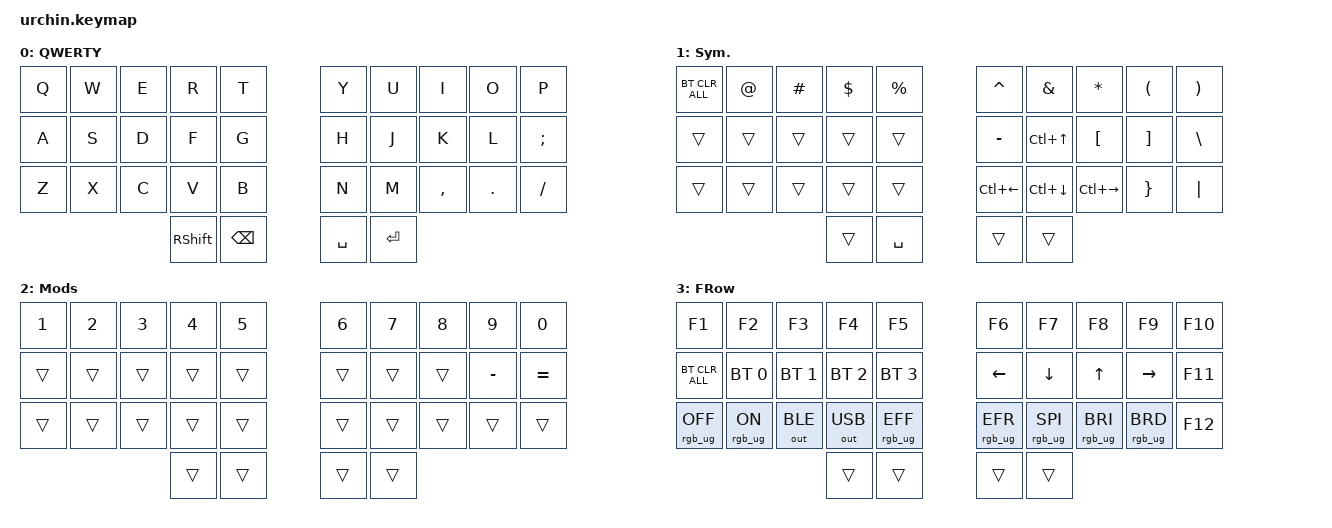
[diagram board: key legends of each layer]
/*
 * Copyright (c) 2020 duckyb
 *
 * SPDX-License-Identifier: MIT
 */

#include <behaviors.dtsi>
#include <dt-bindings/zmk/bt.h>
#include <dt-bindings/zmk/keys.h>
#include <dt-bindings/zmk/outputs.h>
#include <dt-bindings/zmk/rgb.h>
#include "keymap_italian.h"

// Layer definitions

#define BASE 0
#define SYM 1
#define EXT 2
#define FNC 3
#define SYM2 4
#define ACCENT 5
#define SETTINGS 6

// -----------------

/ {
    behaviors {
        td0: td0 {
            compatible = "zmk,behavior-tap-dance";
            display-name = "Shift/Caps Lock Tap Dance";
            #binding-cells = <0>;
            bindings = <&kp LEFT_SHIFT>, <&kp CAPS>;
        };

        lhht: left-hand-hold-tap {
            compatible = "zmk,behavior-hold-tap";
            label = "LEFT_HOLD_TAP";
            bindings = <&kp>, <&kp>;

            #binding-cells = <2>;
            tapping-term-ms = <200>;
            flavor = "tap-preferred";
            quick-tap-ms = <125>;
            global-quick-tap;
            hold-trigger-key-positions = <0 1 2 3 4 10 11 12 13 14 20 21 22 23 24 30 31>;
        };

        rhht: rhht {
            compatible = "zmk,behavior-hold-tap";
            label = "RHHT";
            bindings = <&kp>, <&kp>;

            #binding-cells = <2>;
            tapping-term-ms = <200>;
            quick-tap-ms = <125>;
            flavor = "tap-preferred";
            global-quick-tap;
            hold-trigger-key-positions = <5 6 7 8 9 15 16 17 18 19 25 26 27 28 29 32 33>;
        };
    };

    macros {
        // sometimes my device thinks a modifier is being held down
        // pressing all modifiers fixes it.
    };

    combos {
        compatible = "zmk,combos";

        // both right thumb keys

        lang_switch {
            bindings = <&kp CAPSLOCK>;
            key-positions = <10 20>;
        };

        kp_bslh {
            bindings = <&kp BACKSLASH>;
            key-positions = <10 11>;
        };

        kp_lbkt {
            bindings = <&kp RIGHT_BRACKET>;
            key-positions = <18 19>;
        };

        kp_apos {
            bindings = <&kp APOS>;
            key-positions = <40 29 19>;
        };

        kp_rbkt {
            bindings = <&kp LEFT_BRACKET>;
            key-positions = <8 9>;
        };

        esc {
            bindings = <&kp ESCAPE>;
            key-positions = <0 1>;
        };

        tab {
            bindings = <&kp TAB>;
            key-positions = <30 31>;
        };

        mode {
            bindings = <&mo 3>;
            key-positions = <32 33>;
        };
    };

    keymap {
        compatible = "zmk,keymap";

        // Base alpha layer

        default_layer {
            display-name = "QWERTY";
            bindings = <
&kp Q  &kp W  &kp E  &kp R      &kp T          &kp Y      &kp U      &kp I      &kp O    &kp P
&kp A  &kp S  &kp D  &kp F      &kp G          &kp H      &kp J      &kp K      &kp L    &kp SEMI
&kp Z  &kp X  &kp C  &kp V      &kp B          &kp N      &kp M      &kp COMMA  &kp DOT  &kp FSLH
                     &kp RSHFT  &kp BACKSPACE  &kp SPACE  &kp ENTER
            >;
        };

        // Numbers and high frequency symbols

        sym_layer {
            label = "Sym.";
            bindings = <
&bt BT_CLR_ALL  &kp AT  &kp HASH  &kp DLLR  &kp PRCNT  &kp CARET     &kp AMPS          &kp ASTRK      &kp LPAR  &kp RPAR
&trans          &trans  &trans    &trans    &trans     &kp MINUS     &kp LC(UP_ARROW)  &kp LBKT       &kp RBKT  &kp BSLH
&trans          &trans  &trans    &trans    &trans     &kp LC(LEFT)  &kp LC(DOWN)      &kp LC(RIGHT)  &kp RBRC  &kp PIPE
                                  &trans    &kp SPACE  &trans        &trans
            >;
        };

        // Main modifiers and arrow keys

        ext_layer {
            label = "Mods";
            bindings = <
&kp NUMBER_1  &kp NUMBER_2  &kp NUMBER_3  &kp NUMBER_4  &kp N5  &kp NUMBER_6  &kp N7  &kp N8  &kp N9     &kp N0
&trans        &trans        &trans        &trans        &trans  &trans        &trans  &trans  &kp MINUS  &kp EQUAL
&trans        &trans        &trans        &trans        &trans  &trans        &trans  &trans  &trans     &trans
                                          &trans        &trans  &trans        &trans
            >;
        };

        // Function keys with modifiers

        fnc_layer {
            label = "FRow";
            bindings = <
&kp F1           &kp F2          &kp F3        &kp F4        &kp F5           &kp F6           &kp F7           &kp F8           &kp F9           &kp F10
&bt BT_CLR_ALL   &bt BT_SEL 0    &bt BT_SEL 1  &bt BT_SEL 2  &bt BT_SEL 3     &kp LEFT         &kp DOWN         &kp UP           &kp RIGHT        &kp F11
&rgb_ug RGB_OFF  &rgb_ug RGB_ON  &out OUT_BLE  &out OUT_USB  &rgb_ug RGB_EFF  &rgb_ug RGB_EFR  &rgb_ug RGB_SPI  &rgb_ug RGB_BRI  &rgb_ug RGB_BRD  &kp F12
                                               &trans        &trans           &trans           &trans
            >;
        };
    };
};
